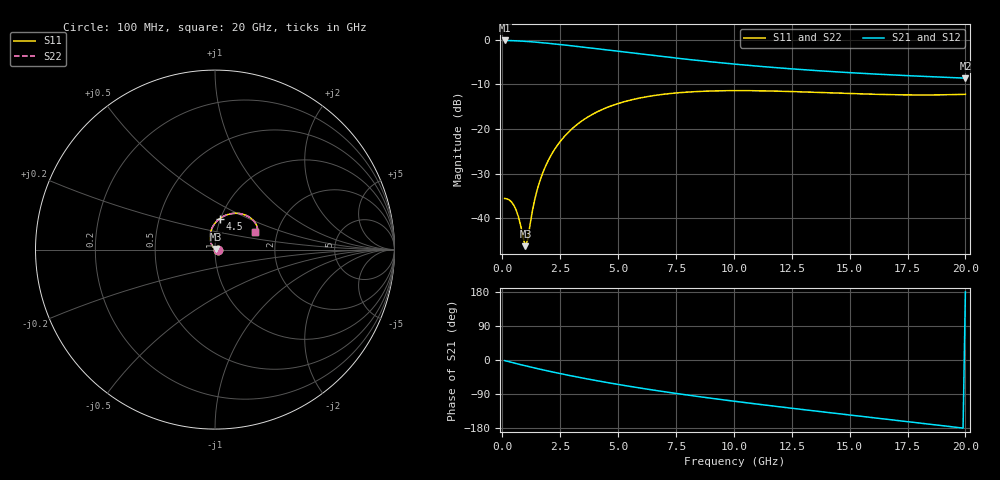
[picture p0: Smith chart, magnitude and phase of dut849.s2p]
! Touchstone file exported from HFSS 2024.1.0
!  File:  C:/UserFiles/LocalFiles/RDL_TSV_Batchsim/temp_RDL_TSV_849_1779922009.aedt
!  Generated:  07:04:33 AM May 28, 2026
!  Design:  RDL_TSV
!  Project:  temp_RDL_TSV_849_1779922009
!  Setup:  Setup1
!  Solution:  Sweep
! Variables:
!  dtsv = 8.25um
!  hbump = 3um
!  htsv = 99.96um
!  ldown = 454.81um
!  lrdl = 212.47um
!  p = 40
!  p1 = 41.5um
!  rhole = 10um
!  subl = 2214.31um
!  t = 450um
!  tdown = 3.75um
!  trdl = 2.8um
!  viad = 10um
!  wdown = 11.22um
!  wrdl = 26.17um
!  xbump = 18um
# GHz S MA R 50.000000
! Terminal data exported
! Port[1] = TM1_1_T1
! Port[2] = TM1_4_T1
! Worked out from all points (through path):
!   200 points, 100 MHz to 20 GHz, reference 50 ohm
!   highest |S21| = -0.15 dB at 100 MHz (marker M1); lowest = -8.6 dB at 20 GHz (marker M2)
!   group delay of S21, straight-line fit = 23.6 ps
!   lowest |S11| = -46.3 dB at 1 GHz (marker M3), VSWR 1.01, Z = 50.3 + j0.4 ohm
!   |S11| at or under -10 dB: start of sweep to end of sweep
!   |S22| runs from -46.3 to -11.4 dB; largest |S21 - S12| = 8.9e-15
!   S11 on the Smith chart (normalised r, x): 100 MHz: 1.03, +0.00; 4.5 GHz: 0.99, +0.35; 20 GHz: 1.53, +0.33
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0.1  0.01664 0.8  0.9829 -1.6  0.9829 -1.6  0.01664 0.8
! Gamma 0 0 0 0
! Port Impedance 50 0 50 0
0.4  0.0152 0.7  0.9784 -6.3  0.9784 -6.3  0.0152 0.7
0.6  0.01229 1.6  0.9736 -9.3  0.9736 -9.3  0.0123 1.5
0.7  0.01032 4.2  0.9708 -10.8  0.9708 -10.8  0.01033 4.1
1  0.004859 54.8  0.9606 -15.3  0.9606 -15.3  0.004858 54.6
1.1  0.005791 90.2  0.9566 -16.8  0.9566 -16.8  0.005775 90.0
1.3  0.01209 118.7  0.948 -19.7  0.948 -19.7  0.01206 118.7
1.5  0.02048 124.1  0.9386 -22.5  0.9386 -22.5  0.02044 124.1
1.7  0.02987 123.9  0.9286 -25.3  0.9286 -25.3  0.02982 123.9
1.9  0.03993 121.9  0.9181 -28.0  0.9181 -28.0  0.03987 121.9
2.2  0.05586 117.6  0.9017 -32.0  0.9017 -32.0  0.05578 117.6
2.6  0.07786 111.0  0.879 -37.1  0.879 -37.1  0.07776 111.0
3  0.0999 104.3  0.856 -42.1  0.856 -42.1  0.09978 104.3
3.5  0.1265 96.2  0.8271 -48.0  0.8271 -48.0  0.1263 96.2
4.5  0.1734 81.7  0.7707 -59.2  0.7707 -59.2  0.1732 81.7
5.5  0.2099 69.3  0.7174 -69.5  0.7174 -69.5  0.2096 69.4
6.8  0.2421 56.2  0.6544 -82.0  0.6544 -82.0  0.2418 56.2
8.4  0.2629 43.8  0.5884 -95.9  0.5884 -95.9  0.2625 43.8
10.1  0.2692 34.2  0.5318 -109.5  0.5318 -109.5  0.2688 34.2
13.4  0.2584 23.5  0.4546 -133.8  0.4546 -133.8  0.2579 23.5
16.7  0.2429 21.3  0.4055 -157.1  0.4055 -157.1  0.2424 21.4
20  0.2449 24.2  0.3716 179.7  0.3716 179.7  0.2445 24.3
